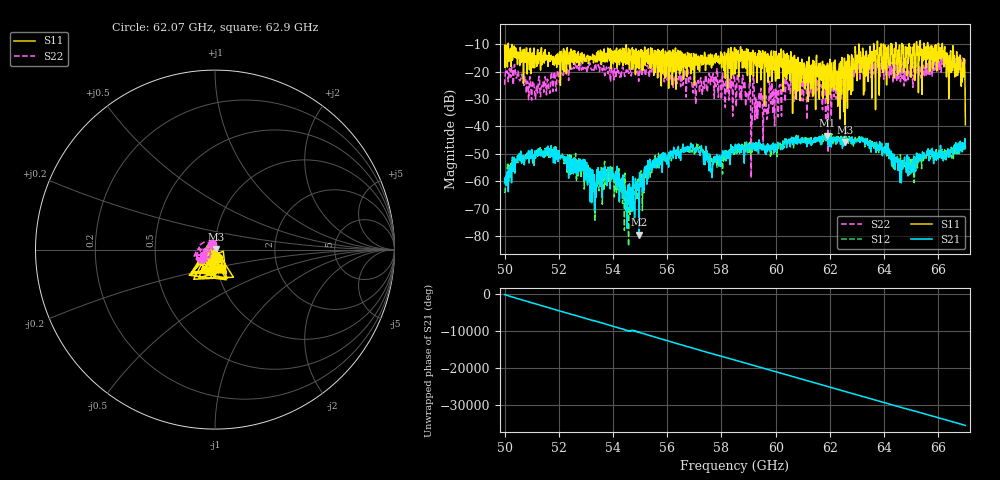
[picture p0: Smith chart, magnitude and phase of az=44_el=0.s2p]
!Created with skrf (http://scikit-rf.org).
# GHz S RI R 50.0
!freq ReS11 ImS11 ReS21 ImS21 ReS12 ImS12 ReS22 ImS22
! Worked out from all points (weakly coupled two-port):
!   1001 points, 50 GHz to 67 GHz, reference 50 ohm
!   highest |S21| = -43.44 dB at 61.9 GHz (marker M1); lowest = -79.6 dB at 54.96 GHz (marker M2)
!   lowest |S11| = -45.7 dB at 62.56 GHz (marker M3), VSWR 1.01, Z = 50.4 + j0.283 ohm
!   |S11| at or under -10 dB: 50.14 GHz to 63.07 GHz (12.94 GHz wide, 22.9 % of centre); 63.07 GHz to 63.62 GHz (543.3 MHz wide, 0.858 % of centre); 66.15 GHz to end of sweep (the widest 3 of 18)
!   |S22| runs from -58.8 to -14.0 dB; largest |S21 - S12| = 0.0026
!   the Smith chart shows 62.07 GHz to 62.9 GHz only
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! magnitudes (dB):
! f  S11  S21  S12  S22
! 50 GHz  -10.4  -60.6  -64.4  -24.9
! 50.51 GHz  -14.9  -52.1  -51.7  -20.7
! 51.27 GHz  -14.6  -50.6  -50.1  -21.8
! 52.84 GHz  -14.5  -52.6  -53.5  -19.5
! 53.3 GHz  -15.3  -57.6  -58.8  -20.1
! 53.94 GHz  -12.3  -59.0  -59.5  -19.5
! 54.51 GHz  -13.6  -65.0  -65.9  -19.9
! 54.96 GHz  -19.1  -79.6  -60.8  -21.9
! 55.68 GHz  -13.9  -51.3  -49.8  -22.0
! 57.63 GHz  -18.7  -55.5  -51.4  -21.4
! 58.5 GHz  -20.9  -47.6  -49.8  -24.6
! 59.61 GHz  -13.1  -49.7  -47.1  -34.6
! 60.64 GHz  -14.8  -45.6  -45.6  -22.6
! 61.34 GHz  -23.8  -45.5  -45.7  -26.2
! 61.9 GHz  -17.4  -43.4  -43.9  -23.0
! 62.56 GHz  -45.7  -45.9  -46.8  -20.1
! 63.01 GHz  -23.3  -45.0  -44.2  -20.2
! 64.18 GHz  -17.7  -51.7  -49.6  -18.6
! 64.91 GHz  -15.4  -51.3  -57.8  -19.7
! 66.08 GHz  -15.3  -46.9  -49.0  -15.6
! 66.9 GHz  -16.6  -48.8  -47.4  -15.1
! 67 GHz  -39.4  -48.1  -47.1  -15.6
